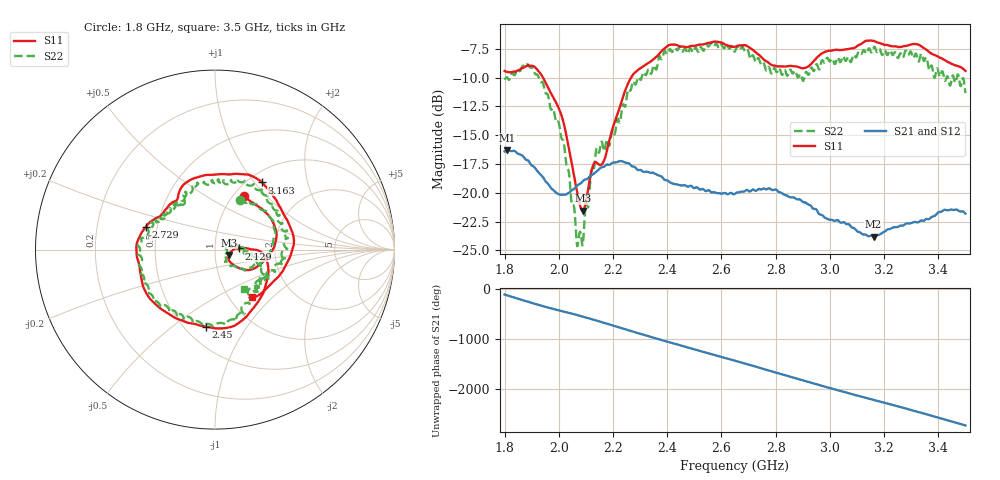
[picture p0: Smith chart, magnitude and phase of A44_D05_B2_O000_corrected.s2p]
! Created with skrf 1.9.0 (http://scikit-rf.org).
# Hz S RI R 50.0
!freq ReS11 ImS11 ReS21 ImS21 ReS12 ImS12 ReS22 ImS22
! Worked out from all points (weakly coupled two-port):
!   1601 points, 1.8 GHz to 3.5 GHz, reference 50 ohm
!   highest |S21| = -16.32 dB at 1.81 GHz (marker M1); lowest = -23.8 dB at 3.161 GHz (marker M2)
!   lowest |S11| = -21.6 dB at 2.089 GHz (marker M3), VSWR 1.18, Z = 58.4 - j3.49 ohm
!   |S11| at or under -10 dB: 1.942 GHz to 2.266 GHz (324.2 MHz wide, 15.4 % of centre)
!   |S22| runs from -24.6 to -7.0 dB; largest |S21 - S12| = 0.0024
!   S11 on the Smith chart (normalised r, x): 1.8 GHz: 1.12, +0.75; 2.129 GHz: 1.31, +0.02; 2.45 GHz: 0.63, -0.67; 2.729 GHz: 0.43, +0.13; 3.163 GHz: 1.16, +1.09; 3.5 GHz: 1.27, -0.76
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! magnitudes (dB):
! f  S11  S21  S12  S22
! 1.8 GHz  -9.4  -16.4  -16.4  -10.2
! 1.81 GHz  -9.5  -16.3  -16.3  -10.0
! 1.885 GHz  -9.0  -17.2  -17.2  -8.8
! 1.941 GHz  -10.0  -18.6  -18.6  -10.5
! 2.013 GHz  -13.5  -20.2  -20.2  -15.4
! 2.067 GHz  -19.8  -19.4  -19.4  -24.5
! 2.084 GHz  -21.5  -19.1  -19.1  -24.0
! 2.089 GHz  -21.6  -19.0  -19.0  -24.4
! 2.129 GHz  -17.5  -18.3  -18.3  -18.0
! 2.167 GHz  -17.2  -17.7  -17.7  -16.4
! 2.266 GHz  -10.0  -17.6  -17.6  -11.0
! 2.367 GHz  -8.0  -18.5  -18.4  -8.4
! 2.45 GHz  -7.3  -19.4  -19.3  -7.5
! 2.65 GHz  -7.3  -20.1  -20.0  -7.7
! 2.729 GHz  -7.8  -19.8  -19.8  -8.6
! 2.899 GHz  -9.2  -20.8  -20.8  -10.2
! 2.934 GHz  -8.7  -21.3  -21.2  -9.1
! 3.161 GHz  -6.8  -23.8  -23.7  -7.4
! 3.163 GHz  -6.8  -23.8  -23.7  -7.3
! 3.217 GHz  -7.2  -23.2  -23.1  -7.8
! 3.342 GHz  -7.3  -22.4  -22.4  -8.2
! 3.5 GHz  -9.4  -21.8  -21.8  -11.3
